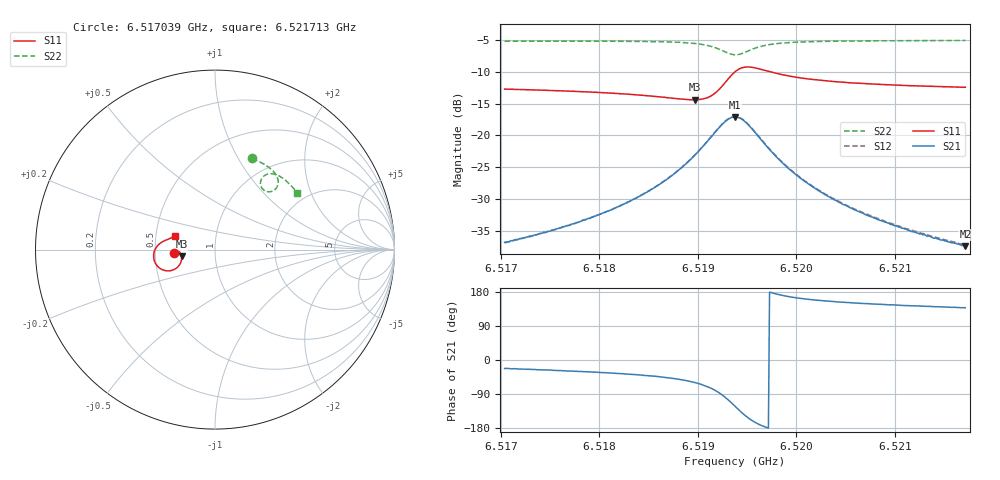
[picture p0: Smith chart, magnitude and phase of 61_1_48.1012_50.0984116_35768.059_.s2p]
#  HZ  S  RI  R  50.00
! Rohde & Schwarz Vector Network Analyzer
! Rohde-Schwarz,ZNB20-2Port,1311601062101988,3.16
! Created: UTC 12/23/2023, 3:40:45 AM
! freq[Hz]  re:S11  im:S11  re:S21  im:S21  re:S12  im:S12  re:S22  im:S22
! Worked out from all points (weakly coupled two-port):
!   401 points, 6.517039 GHz to 6.521713 GHz, reference 50 ohm
!   highest |S21| = -17.10 dB at 6.519376 GHz (marker M1); lowest = -37.4 dB at 6.521713 GHz (marker M2)
!   lowest |S11| = -14.4 dB at 6.518967 GHz (marker M3), VSWR 1.47, Z = 34.2 - j2.6 ohm
!   |S11| at or under -10 dB: start of sweep to 6.519378 GHz; 6.519728 GHz to end of sweep
!   |S22| runs from -7.3 to -5.1 dB; largest |S21 - S12| = 0.0042
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6.5170391e9  -0.2302 -0.0165  0.0133 -0.00555  0.0134 -0.00502  0.2066 0.5082
6.5174714e9  -0.2253 -0.0103  0.0157 -0.00781  0.0158 -0.00739  0.2384 0.4944
6.517822e9  -0.2202 -0.00629  0.0184 -0.0107  0.0186 -0.0102  0.2644 0.481
6.5182778e9  -0.2108 -0.00467  0.0236 -0.0177  0.0242 -0.017  0.2987 0.4591
6.518605e9  -0.2005 -0.00946  0.0294 -0.0284  0.0304 -0.0276  0.3241 0.4369
6.5187919e9  -0.193 -0.0183  0.0335 -0.0402  0.0349 -0.0394  0.3388 0.4188
6.5189672e9  -0.1866 -0.0366  0.0354 -0.0598  0.0375 -0.0592  0.3501 0.3939
6.5190724e9  -0.1866 -0.0563  0.0321 -0.0791  0.0347 -0.0786  0.3524 0.3725
6.5191542e9  -0.1937 -0.0782  0.0223 -0.0988  0.0255 -0.0989  0.3472 0.3521
6.5192827e9  -0.237 -0.1146  -0.0218 -0.1276  -0.0183 -0.1293  0.3134 0.3236
6.5193295e9  -0.2653 -0.1184  -0.0478 -0.1282  -0.0445 -0.1305  0.2932 0.3226
6.5193762e9  -0.2954 -0.1109  -0.0742 -0.1183  -0.0713 -0.1212  0.2731 0.3312
6.519423e9  -0.3206 -0.092  -0.0944 -0.0992  -0.0924 -0.1025  0.2587 0.3476
6.5194814e9  -0.3384 -0.0603  -0.1068 -0.0694  -0.1057 -0.0729  0.2532 0.3722
6.5195866e9  -0.3376 -0.00946  -0.1006 -0.0261  -0.1006 -0.029  0.2677 0.4055
6.5196801e9  -0.323 0.0177  -0.0849 -0.00508  -0.0855 -0.00747  0.2884 0.4189
6.5199021e9  -0.2912 0.0443  -0.0553 0.0116  -0.0562 0.0101  0.3281 0.4211
6.5201592e9  -0.2693 0.0546  -0.0369 0.0141  -0.0378 0.0132  0.3586 0.4096
6.5205098e9  -0.2527 0.0614  -0.0246 0.0132  -0.0251 0.0126  0.388 0.3897
6.5209421e9  -0.24 0.0677  -0.0167 0.0115  -0.0173 0.011  0.4166 0.3641
6.5213745e9  -0.2309 0.0737  -0.0123 0.00998  -0.0128 0.0097  0.4402 0.3381
6.5217134e9  -0.2251 0.0783  -0.00999 0.00904  -0.0104 0.00898  0.4569 0.3168
